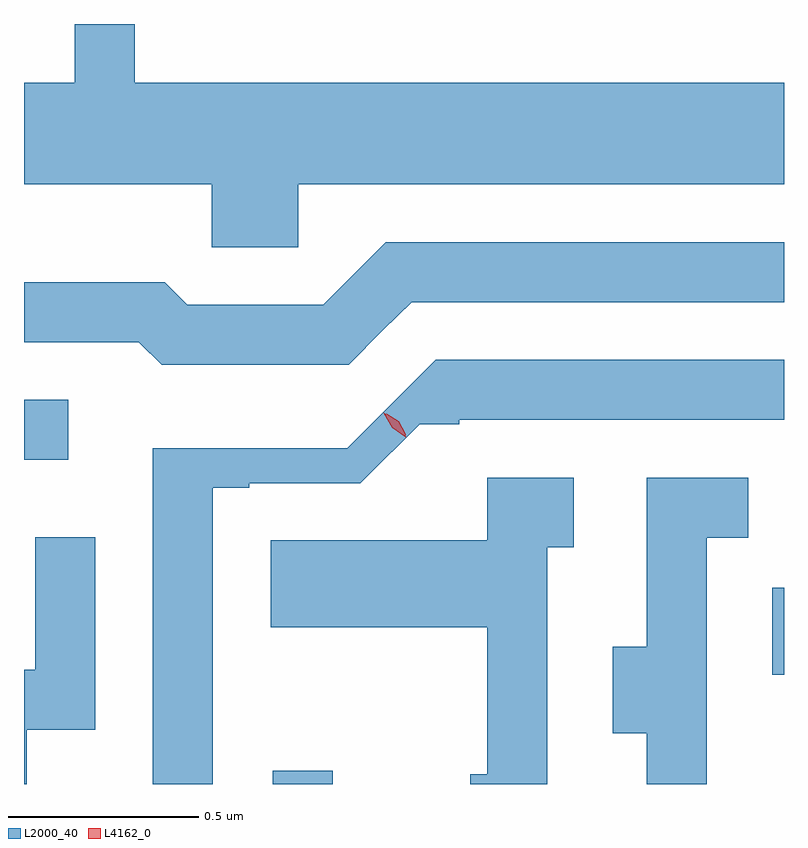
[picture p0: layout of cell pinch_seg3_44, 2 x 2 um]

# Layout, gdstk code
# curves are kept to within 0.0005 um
import gdstk
lib = gdstk.Library(unit=1e-6, precision=1e-09)
def R(c, l, rs):  # rectangles x0, y0, x1, y1
    for r in rs: c.add(gdstk.rectangle(r[:2], r[2:], *l))
def P(c, l, *ps):  # polygons
    for p in ps: c.add(gdstk.Polygon(p, *l))
L2000_40 = (2000, 40)
L4162_0 = (4162, 0)

pinch_seg3_44 = lib.new_cell('pinch_seg3_44')
R(pinch_seg3_44, L2000_40, [(1881.346,1188.818,1881.504,1188.853), (1882.661,1189.106,1882.692,1189.334), (1880.692,1189.671,1880.808,1189.829)])
P(pinch_seg3_44, L2000_40, [(1881.414,1190.396),(1882.692,1190.396),(1882.692,1190.664),(1880.984,1190.664),(1880.984,1190.818),(1880.826,1190.818),(1880.826,1190.664),(1880.692,1190.664),(1880.692,1190.396),(1881.186,1190.396),(1881.186,1190.231),(1881.414,1190.231)],
  [(1881.638,1190.013),(1881.712,1190.086),(1882.692,1190.086),(1882.692,1190.244),(1881.644,1190.244),(1881.479,1190.079),(1881.122,1190.079),(1881.062,1190.139),(1880.692,1190.139),(1880.692,1189.981),(1880.994,1189.981),(1881.054,1189.921),(1881.547,1189.921)],
  [(1881.189,1189.598),(1881.285,1189.598),(1881.285,1189.609),(1881.577,1189.609),(1881.734,1189.765),(1881.837,1189.765),(1881.837,1189.776),(1882.692,1189.776),(1882.692,1189.934),(1881.776,1189.934),(1881.543,1189.702),(1881.031,1189.702),(1881.031,1188.818),(1881.189,1188.818)],
  [(1882.069,1189.441),(1882.139,1189.441),(1882.139,1189.624),(1881.911,1189.624),(1881.911,1189.459),(1881.341,1189.459),(1881.341,1189.231),(1881.911,1189.231),(1881.911,1188.844),(1881.866,1188.844),(1881.866,1188.818),(1882.069,1188.818)],
  [(1882.489,1189.466),(1882.598,1189.466),(1882.598,1189.624),(1882.331,1189.624),(1882.331,1189.179),(1882.241,1189.179),(1882.241,1188.951),(1882.331,1188.951),(1882.331,1188.818),(1882.489,1188.818)],
  [(1880.699,1188.961),(1880.879,1188.961),(1880.879,1189.468),(1880.721,1189.468),(1880.721,1189.119),(1880.692,1189.119),(1880.692,1188.818),(1880.699,1188.818)])
P(pinch_seg3_44, L4162_0, [(1881.697,1189.73),(1881.661,1189.756),(1881.639,1189.794),(1881.639,1189.795),(1881.639,1189.795),(1881.676,1189.77),(1881.698,1189.731),(1881.698,1189.73)],
  [(1881.695,1189.737),(1881.663,1189.758),(1881.645,1189.792),(1881.645,1189.793),(1881.646,1189.793),(1881.678,1189.772),(1881.696,1189.738),(1881.696,1189.737)])

lib.write_gds('pinch_seg3_44.gds')
